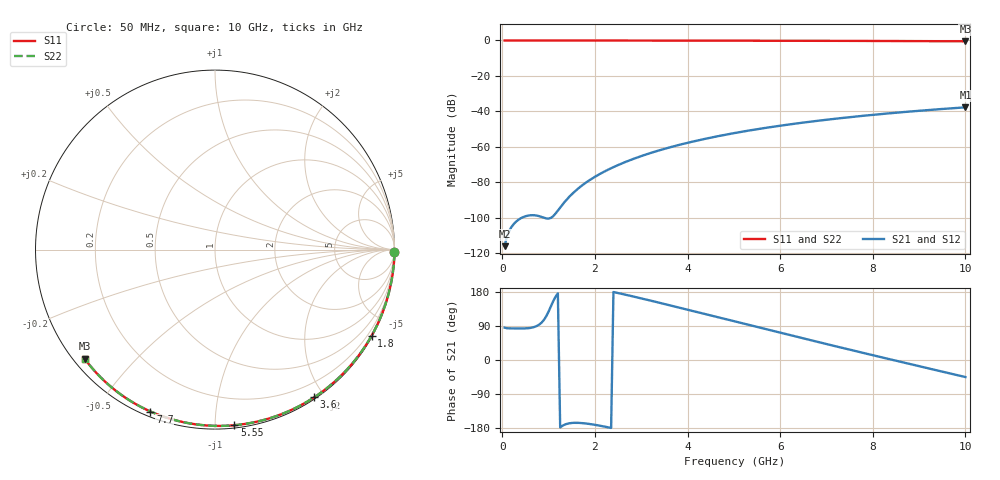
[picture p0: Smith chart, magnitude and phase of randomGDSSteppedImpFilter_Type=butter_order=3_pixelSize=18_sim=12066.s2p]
! freq	dB(S11)	phase(S11)	dB(S12)	phase(S12)
!  dB(S21)	phase(S21)	dB(S22)	phase(S22)
!S-par simulation data
#  GHz  S  DB  R 50
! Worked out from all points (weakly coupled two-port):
!   200 points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, 50 MHz to 10 GHz, reference 50 ohm
!   highest |S21| = -37.72 dB at 10 GHz (marker M1); lowest = -116.0 dB at 50 MHz (marker M2)
!   lowest |S11| = -0.5 dB at 10 GHz (marker M3), VSWR 36.77, Z = 1.54 - j18.2 ohm
!   |S11| at or under -10 dB: nowhere
!   |S22| runs from -0.5 to 0.0 dB; largest |S21 - S12| = 0
!   S11 on the Smith chart (normalised r, x): 50 MHz: open; 1.8 GHz: 0.03, -3.90; 3.6 GHz: 0.02, -1.87; 5.55 GHz: 0.02, -1.12; 7.7 GHz: 0.02, -0.68; 10 GHz: 0.03, -0.36
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0.05  -0.00 -0.8  -116.02 85.3  -116.02 85.3  -0.00 -0.8
0.45  -0.01 -7.3  -99.63 83.2  -99.63 83.2  -0.01 -7.3
0.9  -0.02 -14.5  -100.01 106.0  -100.01 106.0  -0.02 -14.5
1.75  -0.04 -28.0  -81.24 -166.8  -81.24 -166.8  -0.04 -28.0
1.8  -0.04 -28.8  -80.29 -167.5  -80.29 -167.5  -0.04 -28.7
1.85  -0.04 -29.5  -79.39 -168.2  -79.39 -168.2  -0.04 -29.5
2  -0.04 -31.9  -76.91 -171.0  -76.91 -171.0  -0.04 -31.9
2.15  -0.04 -34.2  -74.69 -174.4  -74.69 -174.4  -0.04 -34.2
2.35  -0.05 -37.3  -72.05 -179.3  -72.05 -179.3  -0.05 -37.3
2.55  -0.05 -40.4  -69.71 175.4  -69.71 175.4  -0.05 -40.4
2.95  -0.06 -46.5  -65.67 164.1  -65.67 164.1  -0.06 -46.4
3.4  -0.07 -53.2  -61.90 150.8  -61.90 150.8  -0.07 -53.2
3.6  -0.08 -56.2  -60.41 144.8  -60.41 144.8  -0.08 -56.1
4.3  -0.09 -66.3  -55.94 123.6  -55.94 123.6  -0.09 -66.3
5.05  -0.12 -76.9  -52.06 100.8  -52.06 100.8  -0.12 -76.8
5.55  -0.14 -83.7  -49.86 85.6  -49.86 85.6  -0.14 -83.7
6.1  -0.16 -91.1  -47.72 69.0  -47.72 69.0  -0.16 -91.1
6.7  -0.19 -99.0  -45.66 51.0  -45.66 51.0  -0.19 -98.9
7.7  -0.26 -111.7  -42.73 21.4  -42.73 21.4  -0.26 -111.7
8.35  -0.31 -119.8  -41.11 2.5  -41.11 2.5  -0.31 -119.8
9.2  -0.38 -130.3  -39.24 -22.1  -39.24 -22.1  -0.38 -130.2
10  -0.47 -140.1  -37.72 -45.0  -37.72 -45.0  -0.47 -140.0
